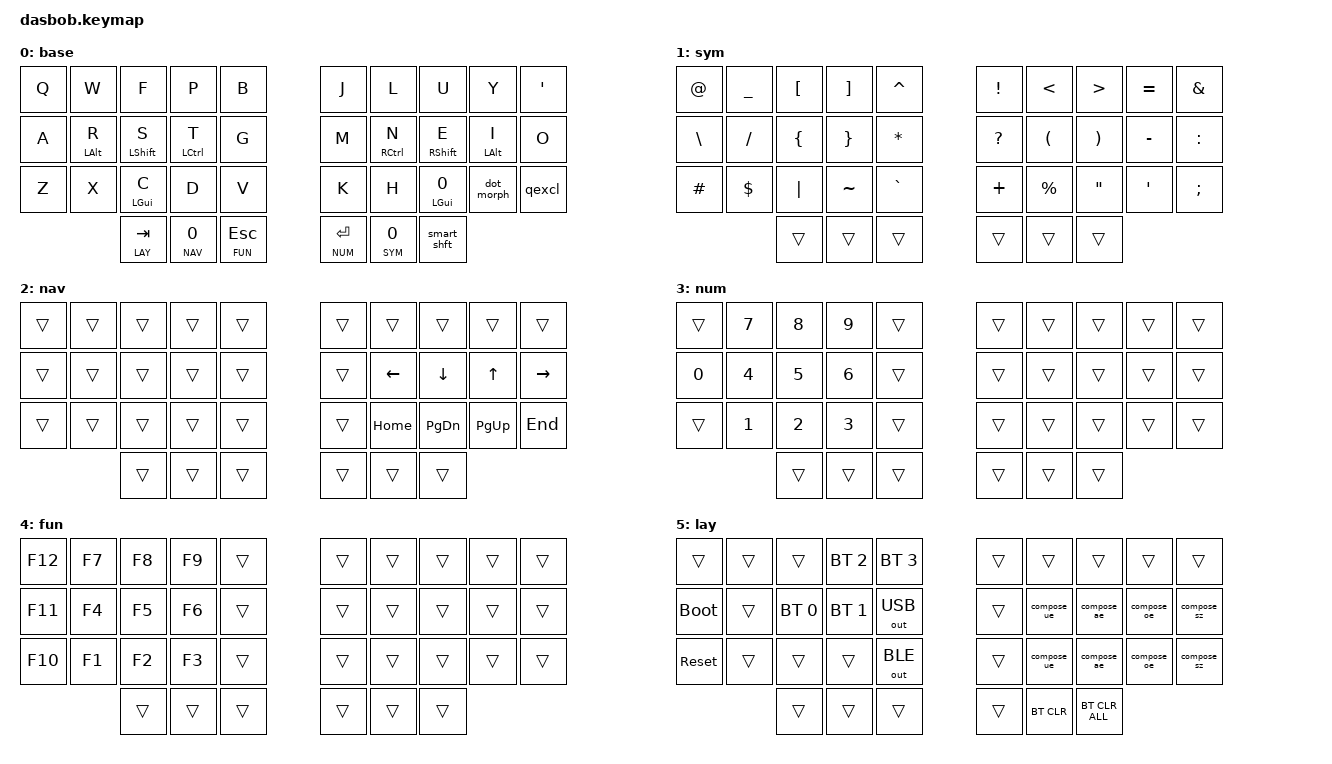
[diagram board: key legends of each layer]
#include <behaviors.dtsi>
#include <dt-bindings/zmk/keys.h>
#include <zmk-helpers/helper.h>
#include <zmk-helpers/key-labels/36.h>
#include <dt-bindings/zmk/bt.h>
#include <dt-bindings/zmk/outputs.h>

#define QUICK_TAP_MS 175
#define THUMB_QUICK_TAP_MS 250
#define TAPPING_TERM_MS 280
#define DEF 0
#define SYM 1
#define NAV 2
#define NUM 3
#define FUN 4
#define LAY 5
#define MAG 6

#define CMP RGUI

#include "combos.dtsi"


#define ___ &trans
#define XXX &none

&sk {  // sticky-key config
    release-after-ms = <1000>;  // release after 1s
    quick-release;             // no double capitalization when rolling keys
};

&sl {  // sticky-layer config
    ignore-modifiers;          // allow chording sticky mods & layers
};

&lt {  // layer-tap config
    flavor = "balanced";
    tapping-term-ms = <200>;
    quick-tap-ms = <QUICK_TAP_MS>;
};

// tap: comma | shift + tap: semicolon
ZMK_BEHAVIOR(comma_morph, mod_morph,
    mods = <(MOD_LSFT|MOD_RSFT)>;
    bindings = <&kp COMMA>, <&kp SEMICOLON>;
)

// tap: dot | shift + tap: colon
ZMK_BEHAVIOR(dot_morph, mod_morph,
    bindings = <&kp DOT>, <&kp COLON>;
    mods = <(MOD_LSFT|MOD_RSFT)>;
)

// tap: qmark | shift + tap: excl
ZMK_BEHAVIOR(qexcl, mod_morph,
    bindings = <&kp QMARK>, <&kp EXCL>;
    mods = <(MOD_LSFT|MOD_RSFT)>;
)


//  0  1  2  3  4    5  6  7  8  9
// 10 11 12 13 14   15 16 17 18 19
// 20 21 22 23 24   25 26 27 28 29
//       30 31 32   33 34 35
            

#define KEYS_L    \
    0  1  2  3  4 \ 
   10 11 12 13 14 \ 
   20 21 22 23 24  

#define                     KEYS_R \
                     5  6  7  8  9 \
                    15 16 17 18 19 \
                    25 26 27 28 29

#define THUMBS \
      30 31 32 \ 
      33 34 35

#define MAKE_HRM(NAME, HOLD, TAP, TRIGGER_POS) \
    ZMK_BEHAVIOR(NAME, hold_tap, \
        flavor = "balanced"; \
        tapping-term-ms = <TAPPING_TERM_MS>; \
        quick-tap-ms = <QUICK_TAP_MS>; \
        require-prior-idle-ms = <150>; \
        bindings = <HOLD>, <TAP>; \
        hold-trigger-key-positions = <TRIGGER_POS>; \
        hold-trigger-on-release; \
    )


MAKE_HRM(hml, &kp, &kp, KEYS_R THUMBS)  // left-hand HRMs
MAKE_HRM(hmr, &kp, &kp, KEYS_L THUMBS)  // right-hand HRMs
MAKE_HRM(hmr_c, &kp, &comma_morph, KEYS_L THUMBS)  // right-hand HRMs


// reuse basic mod-morph scheme
#define SIMPLE_MORPH(NAME, MOD, BINDING1, BINDING2) \
    ZMK_MOD_MORPH(NAME, \
        mods = <(MOD_L ## MOD|MOD_R ## MOD)>; \
        bindings = <BINDING1>, <BINDING2>; \
    )

// tap: comma | shift + tap: semicolon | ctrl + shift + tap: <
SIMPLE_MORPH(comma_morph, SFT, &kp COMMA, &comma_inner_morph)
SIMPLE_MORPH(comma_inner_morph, CTL, &kp SEMICOLON, &kp LESS_THAN)

// tap: dot | shift + tap: colon | ctrl + shift + tap: >
SIMPLE_MORPH(dot_morph, SFT, &kp DOT, &dot_inner_morph)
SIMPLE_MORPH(dot_inner_morph, CTL, &kp COLON, &kp GREATER_THAN)

// tap: qmark | shift + tap: excl
SIMPLE_MORPH(qexcl, SFT, &kp QMARK, &kp EXCL)

// tap: left/right parenthesis | shft + tap: less-than/greater-than
SIMPLE_MORPH(lpar_lt, SFT, &kp LPAR, &kp LT)
SIMPLE_MORPH(rpar_gt, SFT, &kp RPAR, &kp GT)

// tap: space | shift + tap: dot -> space -> sticky shift | hold: activate layer
ZMK_HOLD_TAP(lt_spc,
    flavor = "balanced";
    tapping-term-ms = <200>;
    quick-tap-ms = <QUICK_TAP_MS>;
    bindings = <&mo>, <&spc_morph>;
)
SIMPLE_MORPH(spc_morph, SFT, &kp SPACE, &dot_spc)
ZMK_BEHAVIOR(dot_spc, macro,
    wait-ms = <0>;
    tap-ms = <5>;
    bindings = <&kp DOT &kp SPACE &sk LSHFT>;
)

// tap: backspace | lshft + tap: delete | hold: activate layer
ZMK_HOLD_TAP(lt_bspc,
    flavor = "balanced";
    tapping-term-ms = <200>;
    quick-tap-ms = <QUICK_TAP_MS>;
    bindings = <&mo>, <&bs_del>;
)
ZMK_MOD_MORPH(bs_del,
    bindings = <&kp BSPC>, <&kp DEL>;
    mods = <(MOD_LSFT|MOD_RSFT)>;
    // keep-mods = <(MOD_RSFT)>;
)

MAKE_HRM(hml_repeat, &kp, &key_repeat, KEYS_R THUMBS)  // used for HRM-combo
MAKE_HRM(hmr_lpar_lt, &kp, &lpar_lt, KEYS_L THUMBS)    // "    "   "   "
MAKE_HRM(hmr_rpar_gt, &kp, &rpar_gt, KEYS_L THUMBS)    // "    "   "   "


ZMK_BEHAVIOR(compose_ae, macro,
    wait-ms = <5>;
    tap-ms = <10>;
    bindings = <&kp CMP &kp DQT &kp A>;
)

ZMK_BEHAVIOR(compose_oe, macro,
    wait-ms = <5>;
    tap-ms = <10>;
    bindings = <&kp CMP &kp DQT &kp O>;
)

ZMK_BEHAVIOR(compose_ue, macro,
    wait-ms = <5>;
    tap-ms = <10>;
    bindings = <&kp CMP &kp DQT &kp U>;
)

ZMK_BEHAVIOR(compose_sz, macro,
    wait-ms = <5>;
    tap-ms = <10>;
    bindings = <&kp CMP &kp S &kp S>;
)

/ {
behaviors {

    // We cannot override global behaviors yet (?), so make a sticky key behavior.
    skq: sticky_key_quick_release {
        compatible = "zmk,behavior-sticky-key";
        label = "STICKY_KEY_QUICK_RELEASE";
        #binding-cells = <1>;
        bindings = <&kp>;
        release-after-ms = <1000>;
        quick-release;
        ignore-modifiers;
    };

    smart_shft: smart_shift {
        compatible = "zmk,behavior-mod-morph";
        label = "SMART_SHIFT";
        #binding-cells = <0>;
        bindings = <&skq LSHFT>, <&caps_word>;
        mods = <(MOD_LSFT|MOD_RSFT)>;
    };

    thb: thumb_with_repeat {
        compatible = "zmk,behavior-hold-tap";
        label = "THUMB_WITH_REPEAT";
        #binding-cells = <2>;
        tapping-term-ms = <TAPPING_TERM_MS>;
        quick_tap_ms = <THUMB_QUICK_TAP_MS>;
        require-prior-idle-ms = <150>;
        /* flavor = "tap-unless-interrupted"; */
        flavor = "balanced";
        bindings = <&mo>, <&kp>;
    };
};
};

//  0  1  2  3  4    5  6  7  8  9
// 10 11 12 13 14   15 16 17 18 19
// 20 21 22 23 24   25 26 27 28 29
//       30 31 32   33 34 35
            
/ {
    keymap {
        compatible = "zmk,keymap";

        base {
            bindings = <

&kp Q           &kp W           &kp F           &kp P           &kp B                   &kp J           &kp L           &kp U           &kp Y           &kp APOS
&kp A           &hml LALT R     &hml LSHIFT S   &hml LCTRL T    &kp G                   &kp M           &hmr RCTRL N    &hmr RSHIFT E   &hmr LALT I     &kp O   
&kp Z           &kp X           &hml LGUI C     &kp D           &kp V                   &kp K           &kp H           &hmr_c LGUI 0   &dot_morph      &qexcl  
                                &thb LAY TAB    &lt_bspc NAV 0  &thb FUN ESC            &thb NUM RET    &lt_spc SYM 0   &smart_shft    
            >;
        };

        sym {
            bindings = <
&kp AT          &kp UNDER       &kp LBKT        &kp RBKT        &kp CARET               &kp EXCL        &kp LT          &kp GT          &kp EQUAL       &kp AMPS   
&kp BSLH        &kp FSLH        &kp LBRC        &kp RBRC        &kp STAR                &kp QMARK       &kp LPAR        &kp RPAR        &kp MINUS       &kp COLON  
&kp HASH        &kp DLLR        &kp PIPE        &kp TILDE       &kp GRAVE               &kp PLUS        &kp PRCNT       &kp DQT         &kp SQT         &kp SEMI   
                                ___             ___             ___                     ___             ___             ___
            >;
        };

        nav {
            bindings = <
___             ___             ___             ___             ___                     ___             ___             ___             ___             ___        
___             ___             ___             ___             ___                     ___             &kp LEFT        &kp DOWN        &kp UP          &kp RIGHT  
___             ___             ___             ___             ___                     ___             &kp HOME        &kp PG_DN       &kp PG_UP       &kp END    
                                ___             ___             ___                     ___             ___             ___
            >;
        };

        num {
            bindings = <
___             &kp N7          &kp N8          &kp N9          ___                     ___             ___             ___             ___             ___        
&kp N0          &kp N4          &kp N5          &kp N6          ___                     ___             ___             ___             ___             ___        
___             &kp N1          &kp N2          &kp N3          ___                     ___             ___             ___             ___             ___        
                                ___             ___             ___                     ___             ___             ___
            >;
        };
            
        fun {
            bindings = <
&kp F12         &kp F7          &kp F8          &kp F9          ___                     ___             ___             ___             ___             ___        
&kp F11         &kp F4          &kp F5          &kp F6          ___                     ___             ___             ___             ___             ___        
&kp F10         &kp F1          &kp F2          &kp F3          ___                     ___             ___             ___             ___             ___        
                                ___             ___             ___                     ___             ___             ___
            >;
        };
            
        lay {
            bindings = <
___             ___             ___             &bt BT_SEL 2    &bt BT_SEL 3            ___             ___             ___             ___             ___     
&bootloader     ___             &bt BT_SEL 0    &bt BT_SEL 1    &out OUT_USB            ___             &compose_ue     &compose_ae     &compose_oe     &compose_sz
&sys_reset      ___             ___             ___             &out OUT_BLE            ___             &compose_ue     &compose_ae     &compose_oe     &compose_sz

                                ___             ___             ___                     ___             &bt BT_CLR      &bt BT_CLR_ALL
            >;
        };
    };
};
